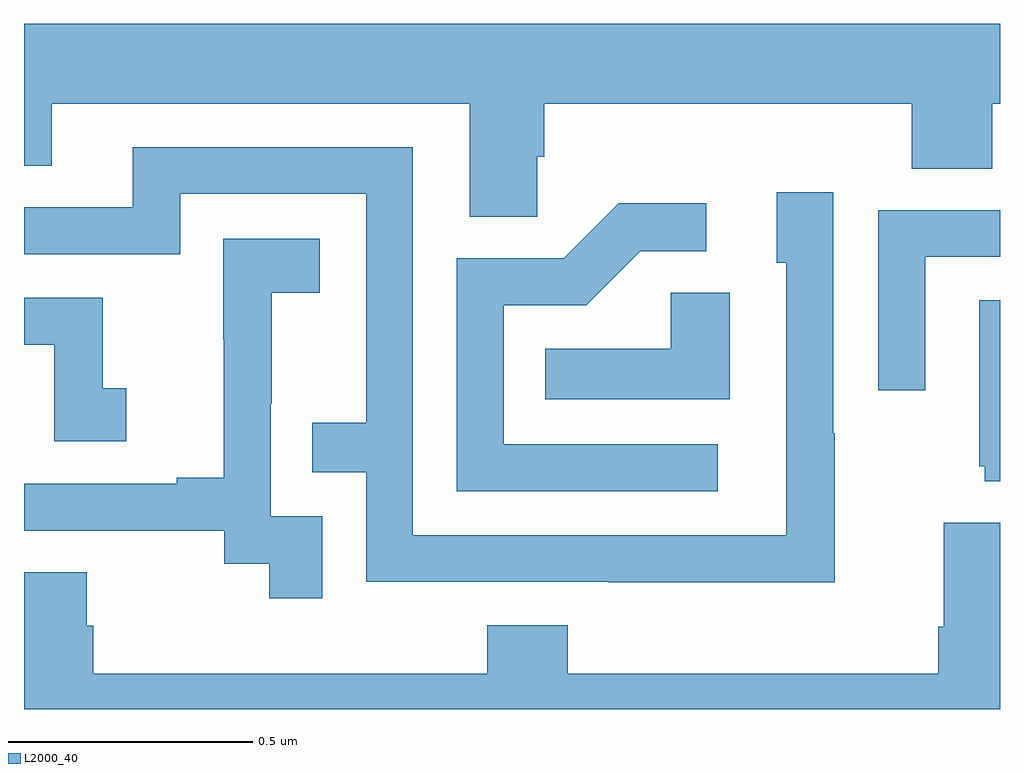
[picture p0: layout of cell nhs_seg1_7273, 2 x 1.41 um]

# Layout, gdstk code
import gdstk
lib = gdstk.Library(unit=1e-6, precision=1e-09)
def P(c, l, *ps):  # polygons
    for p in ps: c.add(gdstk.Polygon(p, *l))
L2000_40 = (2000, 40)

nhs_seg1_7273 = lib.new_cell('nhs_seg1_7273')
P(nhs_seg1_7273, L2000_40, [(203.052,510.331),(203.066,510.331),(203.066,510.44),(203.819,510.44),(203.819,510.307),(203.984,510.307),(203.984,510.44),(204,510.44),(204,510.604),(202,510.604),(202,510.313),(202.057,510.313),(202.057,510.44),(202.913,510.44),(202.913,510.208),(203.052,510.208)],
  [(203.661,509.765),(203.658,509.765),(203.658,510.259),(203.543,510.259),(203.543,510.114),(203.562,510.114),(203.562,509.556),(202.797,509.556),(202.797,510.351),(202.223,510.351),(202.223,510.228),(202,510.228),(202,510.132),(202.32,510.132),(202.32,510.255),(202.701,510.255),(202.701,509.786),(202.591,509.786),(202.591,509.685),(202.701,509.685),(202.701,509.46),(203.197,509.46),(203.197,509.459),(203.661,509.459)],
  [(203.422,509.742),(202.983,509.742),(202.983,510.027),(203.152,510.027),(203.263,510.138),(203.398,510.138),(203.398,510.236),(203.219,510.236),(203.106,510.123),(202.887,510.123),(202.887,509.646),(203.422,509.646)],
  [(203.847,510.126),(204,510.126),(204,510.222),(203.751,510.222),(203.751,509.853),(203.847,509.853)],
  [(202.611,509.595),(202.506,509.595),(202.506,509.825),(202.508,509.825),(202.508,510.053),(202.606,510.053),(202.606,510.163),(202.408,510.163),(202.408,509.957),(202.409,509.957),(202.409,509.674),(202.313,509.674),(202.313,509.661),(202,509.661),(202,509.565),(202.41,509.565),(202.41,509.497),(202.503,509.497),(202.503,509.427),(202.611,509.427)],
  [(203.446,510.053),(203.325,510.053),(203.325,509.938),(203.068,509.938),(203.068,509.834),(203.446,509.834)],
  [(202.21,509.857),(202.161,509.857),(202.161,510.042),(202,510.042),(202,509.946),(202.062,509.946),(202.062,509.748),(202.21,509.748)],
  [(204,510.037),(203.957,510.037),(203.957,509.697),(203.969,509.697),(203.969,509.666),(204,509.666)],
  [(204,509.581),(203.885,509.581),(203.885,509.368),(203.873,509.368),(203.873,509.272),(203.114,509.272),(203.114,509.371),(202.949,509.371),(202.949,509.272),(202.142,509.272),(202.142,509.37),(202.129,509.37),(202.129,509.48),(202,509.48),(202,509.199),(204,509.199)])

lib.write_gds('nhs_seg1_7273.gds')
